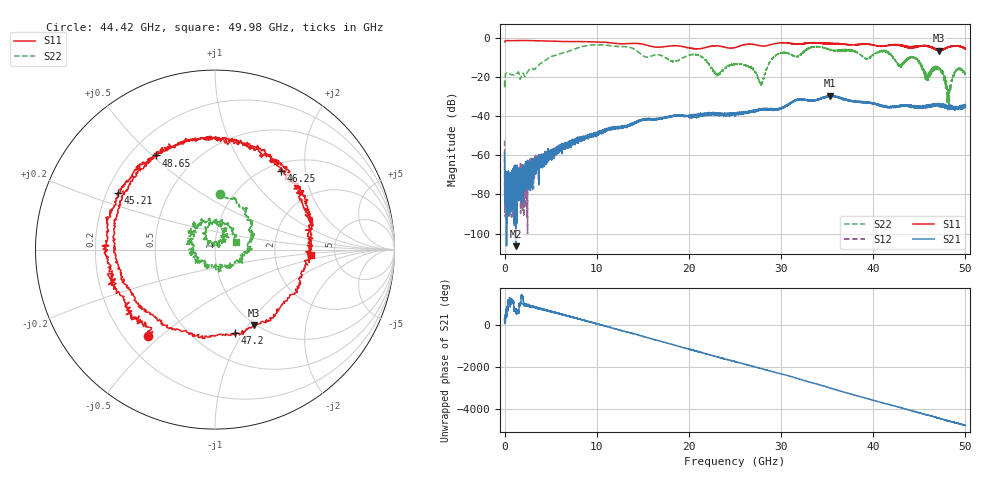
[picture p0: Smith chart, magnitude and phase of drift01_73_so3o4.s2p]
!Created with skrf (http://scikit-rf.org).
# Hz S RI R 50.0
!freq ReS11 ImS11 ReS21 ImS21 ReS12 ImS12 ReS22 ImS22
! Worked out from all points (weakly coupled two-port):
!   10001 points, 300 kHz to 50 GHz, reference 50 ohm
!   highest |S21| = -29.48 dB at 35.32 GHz (marker M1); lowest = -106.4 dB at 1.205 GHz (marker M2)
!   lowest |S11| = -6.5 dB at 47.12 GHz (marker M3), VSWR 2.78, Z = 49.1 - j52.9 ohm
!   |S11| at or under -10 dB: nowhere
!   |S22| runs from -34.3 to -3.6 dB; largest |S21 - S12| = 0.0034
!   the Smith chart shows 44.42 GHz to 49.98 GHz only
!   S11 on the Smith chart (normalised r, x): 44.42 GHz: 0.30, -0.45; 45.21 GHz: 0.25, +0.25; 46.25 GHz: 1.14, +1.49; 47.2 GHz: 0.77, -0.93; 48.65 GHz: 0.30, +0.51; 49.98 GHz: 3.27, -0.30
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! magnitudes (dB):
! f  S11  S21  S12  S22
! 300 kHz  -2.1  -58.8  -52.5  -22.4
! 255.3 MHz  -1.4  -77.2  -74.5  -18.0
! 1.205 GHz  -1.4  -106.4  -79.1  -18.7
! 8.335 GHz  -1.9  -50.9  -51.4  -4.5
! 16.67 GHz  -4.8  -41.5  -41.3  -8.7
! 20.99 GHz  -5.6  -39.2  -40.2  -8.7
! 23.1 GHz  -4.1  -39.2  -39.1  -18.7
! 25 GHz  -5.0  -38.8  -38.7  -13.5
! 27.86 GHz  -4.2  -36.8  -36.4  -23.2
! 29.45 GHz  -2.9  -36.8  -36.6  -8.9
! 33.34 GHz  -2.6  -31.9  -31.9  -4.8
! 35.32 GHz  -3.0  -29.5  -29.8  -6.0
! 41.67 GHz  -3.9  -35.7  -35.3  -8.0
! 44.42 GHz  -4.3  -35.4  -35.5  -10.1
! 45.21 GHz  -4.1  -35.5  -35.6  -14.8
! 46.25 GHz  -4.8  -34.7  -34.7  -17.8
! 47.12 GHz  -6.5  -33.5  -34.2  -15.8
! 47.2 GHz  -6.4  -34.1  -34.8  -15.7
! 48.17 GHz  -4.7  -35.8  -36.0  -28.0
! 48.65 GHz  -4.2  -35.8  -35.6  -19.5
! 49.98 GHz  -5.4  -35.3  -34.5  -18.0
! 50 GHz  -5.5  -35.0  -35.2  -18.0
